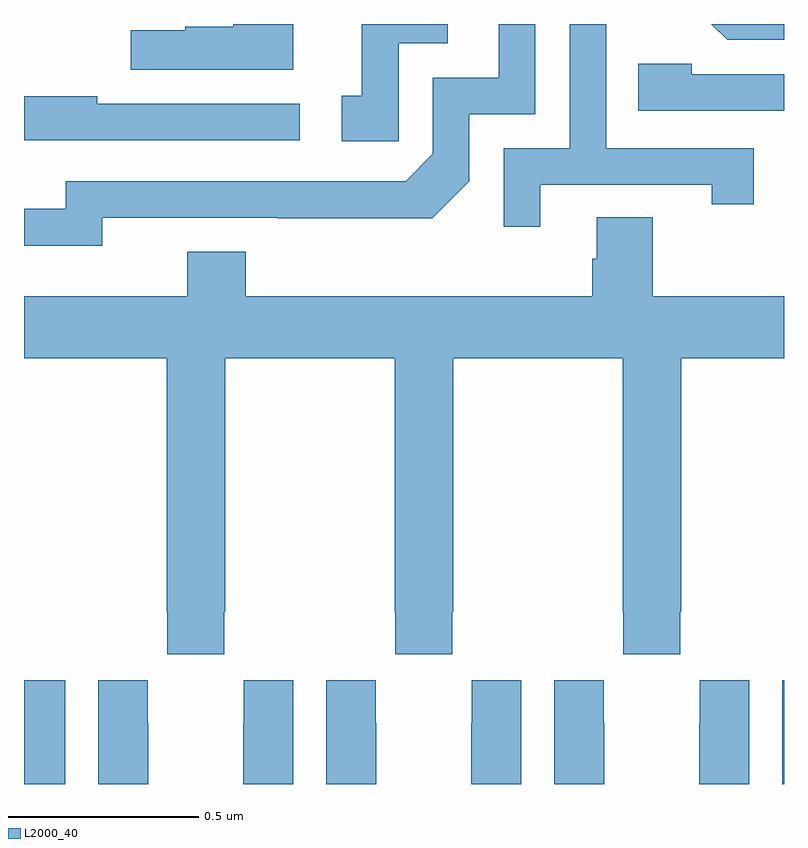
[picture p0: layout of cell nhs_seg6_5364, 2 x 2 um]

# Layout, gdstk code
import gdstk
lib = gdstk.Library(unit=1e-6, precision=1e-09)
def R(c, l, rs):  # rectangles x0, y0, x1, y1
    for r in rs: c.add(gdstk.rectangle(r[:2], r[2:], *l))
def P(c, l, *ps):  # polygons
    for p in ps: c.add(gdstk.Polygon(p, *l))
L2000_40 = (2000, 40)

nhs_seg6_5364 = lib.new_cell('nhs_seg6_5364')
R(nhs_seg6_5364, L2000_40, [(181,995.5,181.108,995.773), (182.996,995.5,183,995.773)])
P(nhs_seg6_5364, L2000_40, [(181.206,996.99),(181.666,996.99),(181.666,996.989),(182.074,996.989),(182.172,997.086),(182.172,997.263),(182.346,997.263),(182.346,997.5),(182.249,997.5),(182.249,997.359),(182.076,997.359),(182.076,997.158),(182.004,997.086),(181.11,997.086),(181.11,997.014),(181,997.014),(181,996.917),(181.206,996.917)],
  [(181.708,997.5),(181.55,997.5),(181.55,997.493),(181.424,997.493),(181.424,997.483),(181.281,997.483),(181.281,997.379),(181.708,997.379)],
  [(181.986,997.449),(182.115,997.449),(182.115,997.5),(181.889,997.5),(181.889,997.311),(181.836,997.311),(181.836,997.191),(181.986,997.191)],
  [(183,997.5),(182.808,997.5),(182.85,997.458),(183,997.458)],
  [(182.359,997.077),(182.81,997.077),(182.81,997.026),(182.921,997.026),(182.921,997.173),(182.532,997.173),(182.532,997.5),(182.436,997.5),(182.436,997.173),(182.262,997.173),(182.262,996.966),(182.359,996.966)],
  [(183,997.368),(182.757,997.368),(182.757,997.395),(182.617,997.395),(182.617,997.272),(183,997.272)],
  [(181.726,997.29),(181.193,997.29),(181.193,997.31),(181,997.31),(181,997.194),(181.726,997.194)],
  [(181.527,995.953),(181.53,995.953),(181.53,996.62),(181.975,996.62),(181.975,995.953),(181.977,995.953),(181.977,995.841),(182.127,995.841),(182.127,995.953),(182.13,995.953),(182.13,996.62),(182.575,996.62),(182.575,995.953),(182.577,995.953),(182.577,995.841),(182.727,995.841),(182.727,995.953),(182.73,995.953),(182.73,996.62),(183,996.62),(183,996.784),(182.655,996.784),(182.655,996.992),(182.507,996.992),(182.507,996.882),(182.495,996.882),(182.495,996.784),(181.583,996.784),(181.583,996.901),(181.43,996.901),(181.43,996.784),(181,996.784),(181,996.62),(181.375,996.62),(181.375,995.953),(181.377,995.953),(181.377,995.841),(181.527,995.841)],
  [(181.708,995.773),(181.578,995.773),(181.578,995.66),(181.577,995.66),(181.577,995.5),(181.708,995.5)],
  [(182.908,995.773),(182.778,995.773),(182.778,995.66),(182.777,995.66),(182.777,995.5),(182.908,995.5)],
  [(182.527,995.66),(182.526,995.66),(182.526,995.773),(182.396,995.773),(182.396,995.5),(182.527,995.5)],
  [(182.308,995.773),(182.178,995.773),(182.178,995.66),(182.177,995.66),(182.177,995.5),(182.308,995.5)],
  [(181.927,995.66),(181.926,995.66),(181.926,995.773),(181.796,995.773),(181.796,995.5),(181.927,995.5)],
  [(181.327,995.66),(181.326,995.66),(181.326,995.773),(181.196,995.773),(181.196,995.5),(181.327,995.5)])

lib.write_gds('nhs_seg6_5364.gds')
